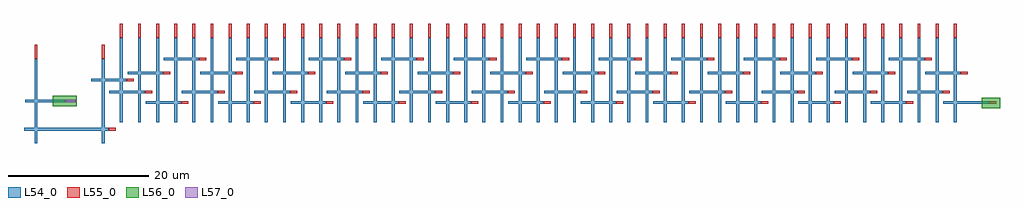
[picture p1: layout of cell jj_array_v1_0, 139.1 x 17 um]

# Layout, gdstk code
import gdstk
lib = gdstk.Library(unit=1e-6, precision=1e-09)
def R(c, l, rs):  # rectangles x0, y0, x1, y1
    for r in rs: c.add(gdstk.rectangle(r[:2], r[2:], *l))
def A(c, l, x, y, w, h, nx, ny, dx, dy):  # array of equal rectangles
    R(c, l, [(x+i*dx, y+j*dy, x+i*dx+w, y+j*dy+h) for i in range(nx) for j in range(ny)])
L54_0 = (54, 0)
L55_0 = (55, 0)
L56_0 = (56, 0)
L57_0 = (57, 0)

jj_array_v1_0 = lib.new_cell('jj_array_v1_0')
A(jj_array_v1_0, L54_0, -58.133, -6, 0.41, 12, 3, 1, 2.584, 0)
A(jj_array_v1_0, L54_0, -50.382, -6, 0.41, 12, 3, 1, 2.584, 0)
A(jj_array_v1_0, L54_0, -42.631, -6, 0.41, 12, 3, 1, 2.584, 0)
A(jj_array_v1_0, L54_0, -34.88, -6, 0.41, 12, 3, 1, 2.584, 0)
A(jj_array_v1_0, L54_0, -27.129, -6, 0.41, 12, 3, 1, 2.584, 0)
A(jj_array_v1_0, L54_0, -19.378, -6, 0.41, 12, 3, 1, 2.584, 0)
A(jj_array_v1_0, L54_0, -11.627, -6, 0.41, 12, 3, 1, 2.584, 0)
A(jj_array_v1_0, L54_0, -3.876, -6, 0.41, 12, 4, 1, 2.584, 0)
A(jj_array_v1_0, L54_0, 6.459, -6, 0.41, 12, 3, 1, 2.584, 0)
A(jj_array_v1_0, L54_0, 14.21, -6, 0.41, 12, 3, 1, 2.584, 0)
A(jj_array_v1_0, L54_0, 21.961, -6, 0.41, 12, 3, 1, 2.584, 0)
A(jj_array_v1_0, L54_0, 29.712, -6, 0.41, 12, 3, 1, 2.584, 0)
A(jj_array_v1_0, L54_0, 37.463, -6, 0.41, 12, 3, 1, 2.584, 0)
A(jj_array_v1_0, L54_0, 45.214, -6, 0.41, 12, 3, 1, 2.584, 0)
A(jj_array_v1_0, L54_0, 52.965, -6, 0.41, 12, 3, 1, 2.584, 0)
A(jj_array_v1_0, L54_0, -13.127, -3.41, 5.084, 0.41, 3, 1, 10.335, 0)
A(jj_array_v1_0, L54_0, -5.376, 0.795, 5.084, 0.41, 3, 1, 10.335, 0)
A(jj_array_v1_0, L54_0, -20.878, 2.795, 5.084, 0.41, 3, 1, 10.335, 0)
R(jj_array_v1_0, L54_0, [(-70.3,-9,-69.89,3), (-60.716,-9,-60.306,3), (-71.8,-7.21,-59.716,-6.8), (60.716,-6,61.126,6), (-54.465,-3.41,-49.382,-3), (-44.131,-3.41,-39.047,-3), (-33.796,-3.41,-28.712,-3), (-23.461,-3.41,-18.378,-3), (17.878,-3.41,22.961,-3), (28.212,-3.41,33.296,-3), (38.547,-3.41,43.631,-3), (48.882,-3.41,53.965,-3), (59.216,-3.41,65.8,-3), (-71.6,-3.205,-65.89,-2.795), (-59.633,-1.91,-54.549,-1.5), (-49.298,-1.91,-44.214,-1.5), (-38.963,-1.91,-33.88,-1.5), (-28.629,-1.91,-23.545,-1.5), (-18.294,-1.91,-13.21,-1.5), (-7.959,-1.91,-2.876,-1.5), (2.376,-1.91,7.459,-1.5), (12.71,-1.91,17.794,-1.5), (23.045,-1.91,28.129,-1.5), (33.38,-1.91,38.463,-1.5), (43.714,-1.91,48.798,-1.5), (54.049,-1.91,59.133,-1.5), (-62.216,-0.205,-57.133,0.205), (-57.049,0.795,-51.965,1.205), (-46.714,0.795,-41.631,1.205), (-36.38,0.795,-31.296,1.205), (-26.045,0.795,-20.961,1.205), (-15.71,0.795,-10.627,1.205), (25.629,0.795,30.712,1.205), (35.963,0.795,41.047,1.205), (46.298,0.795,51.382,1.205), (56.633,0.795,61.716,1.205), (-51.882,2.795,-46.798,3.205), (-41.547,2.795,-36.463,3.205), (-31.212,2.795,-26.129,3.205), (10.127,2.795,15.21,3.205), (20.461,2.795,25.545,3.205), (30.796,2.795,35.88,3.205), (41.131,2.795,46.214,3.205), (51.465,2.795,56.549,3.205)])
A(jj_array_v1_0, L55_0, -49.382, -3.41, 1, 0.41, 3, 1, 10.335, 0)
A(jj_array_v1_0, L55_0, -18.378, -3.41, 1, 0.41, 4, 1, 10.335, 0)
A(jj_array_v1_0, L55_0, 22.961, -3.41, 1, 0.41, 3, 1, 10.335, 0)
A(jj_array_v1_0, L55_0, -33.88, -1.91, 1, 0.41, 3, 1, 10.335, 0)
A(jj_array_v1_0, L55_0, -2.876, -1.91, 1, 0.41, 4, 1, 10.335, 0)
A(jj_array_v1_0, L55_0, 38.463, -1.91, 1, 0.41, 3, 1, 10.335, 0)
A(jj_array_v1_0, L55_0, -41.631, 0.795, 1, 0.41, 3, 1, 10.335, 0)
A(jj_array_v1_0, L55_0, -10.627, 0.795, 1, 0.41, 4, 1, 10.335, 0)
A(jj_array_v1_0, L55_0, 30.712, 0.795, 1, 0.41, 3, 1, 10.335, 0)
A(jj_array_v1_0, L55_0, -26.129, 2.795, 1, 0.41, 4, 1, 10.335, 0)
A(jj_array_v1_0, L55_0, 15.21, 2.795, 1, 0.41, 3, 1, 10.335, 0)
A(jj_array_v1_0, L55_0, -58.133, 6, 0.41, 2, 3, 1, 2.584, 0)
A(jj_array_v1_0, L55_0, -50.382, 6, 0.41, 2, 3, 1, 2.584, 0)
A(jj_array_v1_0, L55_0, -42.631, 6, 0.41, 2, 3, 1, 2.584, 0)
A(jj_array_v1_0, L55_0, -34.88, 6, 0.41, 2, 3, 1, 2.584, 0)
A(jj_array_v1_0, L55_0, -27.129, 6, 0.41, 2, 3, 1, 2.584, 0)
A(jj_array_v1_0, L55_0, -19.378, 6, 0.41, 2, 3, 1, 2.584, 0)
A(jj_array_v1_0, L55_0, -11.627, 6, 0.41, 2, 3, 1, 2.584, 0)
A(jj_array_v1_0, L55_0, -3.876, 6, 0.41, 2, 4, 1, 2.584, 0)
A(jj_array_v1_0, L55_0, 6.459, 6, 0.41, 2, 3, 1, 2.584, 0)
A(jj_array_v1_0, L55_0, 14.21, 6, 0.41, 2, 3, 1, 2.584, 0)
A(jj_array_v1_0, L55_0, 21.961, 6, 0.41, 2, 3, 1, 2.584, 0)
A(jj_array_v1_0, L55_0, 29.712, 6, 0.41, 2, 3, 1, 2.584, 0)
A(jj_array_v1_0, L55_0, 37.463, 6, 0.41, 2, 3, 1, 2.584, 0)
A(jj_array_v1_0, L55_0, 45.214, 6, 0.41, 2, 3, 1, 2.584, 0)
A(jj_array_v1_0, L55_0, 52.965, 6, 0.41, 2, 3, 1, 2.584, 0)
R(jj_array_v1_0, L55_0, [(-59.716,-7.21,-58.716,-6.8), (53.965,-3.41,54.965,-3), (65.8,-3.41,66.8,-3), (-54.549,-1.91,-53.549,-1.5), (-44.214,-1.91,-43.214,-1.5), (-57.133,-0.205,-56.133,0.205), (-51.965,0.795,-50.965,1.205), (61.716,0.795,62.716,1.205), (-46.798,2.795,-45.798,3.205), (-36.463,2.795,-35.463,3.205), (46.214,2.795,47.214,3.205), (56.549,2.795,57.549,3.205), (-70.3,3,-69.89,5), (-60.716,3,-60.306,5), (60.716,6,61.126,8)])
R(jj_array_v1_0, L56_0, [(64.7,-4,67.3,-2.5), (-67.7,-3.75,-64.3,-2.25)])
R(jj_array_v1_0, L57_0, [(-65.89,-3.205,-64.39,-2.795)])

lib.write_gds('jj_array_v1_0.gds')
